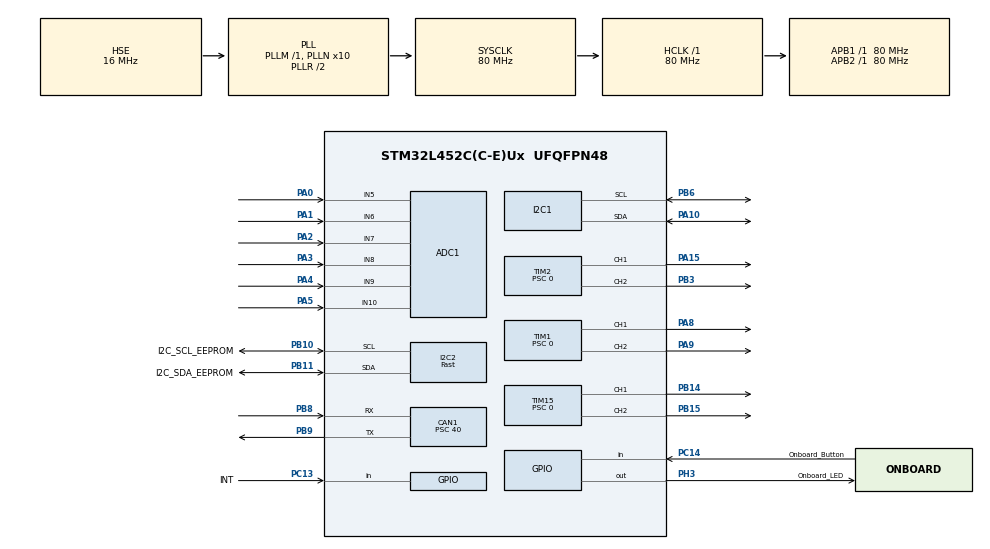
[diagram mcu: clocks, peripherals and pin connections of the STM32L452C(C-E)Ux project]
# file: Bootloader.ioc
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ADC1.Channel-0\#ChannelRegularConversion=ADC_CHANNEL_5
ADC1.NbrOfConversionFlag=1
ADC1.OffsetNumber-0\#ChannelRegularConversion=ADC_OFFSET_NONE
ADC1.Rank-0\#ChannelRegularConversion=1
ADC1.SamplingTime-0\#ChannelRegularConversion=ADC_SAMPLETIME_2CYCLES_5
ADC1.master=1
CAN1.BS1=CAN_BS1_13TQ
CAN1.BS2=CAN_BS2_2TQ
CAN1.CalculateTimeQuantum=500.0
CAN1.Prescaler=40
CAN1.RFLM=DISABLE
CAN1.TXFP=ENABLE
I2C1.Timing=0x10909CEC
I2C2.Analog_Filter=I2C_ANALOGFILTER_ENABLE
I2C2.CustomTiming=Disabled
I2C2.I2C_Speed_Mode=I2C_Fast
I2C2.Timing=0x00702991
Mcu.Family=STM32L4
Mcu.Name=STM32L452C(C-E)Ux
Mcu.Package=UFQFPN48
NVIC.CAN1_RX0_IRQn=true\:0\:0\:false\:false\:true\:true\:true
NVIC.CAN1_RX1_IRQn=true\:0\:0\:false\:false\:true\:true\:true
NVIC.CAN1_SCE_IRQn=true\:0\:0\:false\:false\:true\:true\:true
NVIC.CAN1_TX_IRQn=true\:0\:0\:false\:false\:true\:true\:true
NVIC.PriorityGroup=NVIC_PRIORITYGROUP_4
PA0.Signal=ADCx_IN5
PA1.Signal=ADCx_IN6
PA10.Mode=I2C
PA10.Signal=I2C1_SDA
PA13\ (JTMS/SWDIO).Mode=Serial_Wire
PA13\ (JTMS/SWDIO).Signal=SYS_JTMS-SWDIO
PA14\ (JTCK/SWCLK).Mode=Serial_Wire
PA14\ (JTCK/SWCLK).Signal=SYS_JTCK-SWCLK
PA15\ (JTDI).Signal=S_TIM2_CH1
PA2.Signal=ADCx_IN7
PA3.Signal=ADCx_IN8
PA4.Signal=ADCx_IN9
PA5.Signal=ADCx_IN10
PA8.Signal=S_TIM1_CH1
PA9.Signal=S_TIM1_CH2
PB10.GPIO_Label=I2C_SCL_EEPROM
PB10.Mode=I2C
PB10.Signal=I2C2_SCL
PB11.GPIO_Label=I2C_SDA_EEPROM
PB11.Mode=I2C
PB11.Signal=I2C2_SDA
PB14.Signal=S_TIM15_CH1
PB15.Signal=S_TIM15_CH2
PB3\ (JTDO/TRACESWO).Signal=S_TIM2_CH2
PB6.Mode=I2C
PB6.Signal=I2C1_SCL
PB8.Mode=Master
PB8.Signal=CAN1_RX
PB9.Mode=Master
PB9.Signal=CAN1_TX
PC13.GPIO_Label=INT
PC13.GPIO_PuPd=GPIO_PULLUP
PC13.Signal=GPIO_Input
PC14-OSC32_IN\ (PC14).GPIO_Label=Onboard_Button
PC14-OSC32_IN\ (PC14).GPIO_PuPd=GPIO_PULLUP
PC14-OSC32_IN\ (PC14).Signal=GPIO_Input
PH0-OSC_IN\ (PH0).Mode=HSE-External-Oscillator
PH0-OSC_IN\ (PH0).Signal=RCC_OSC_IN
PH1-OSC_OUT\ (PH1).Mode=HSE-External-Oscillator
PH1-OSC_OUT\ (PH1).Signal=RCC_OSC_OUT
PH3-BOOT0\ (BOOT0).GPIO_Label=Onboard_LED
PH3-BOOT0\ (BOOT0).Signal=GPIO_Output
ProjectManager.HeapSize=0x200
ProjectManager.StackSize=0x400
ProjectManager.TargetToolchain=MDK-ARM V5.27
RCC.ADCFreq_Value=64000000
RCC.AHBFreq_Value=80000000
RCC.APB1Freq_Value=80000000
RCC.APB1TimFreq_Value=80000000
RCC.APB2Freq_Value=80000000
RCC.APB2TimFreq_Value=80000000
RCC.CortexFreq_Value=80000000
RCC.HCLKFreq_Value=80000000
RCC.HSE_VALUE=16000000
RCC.HSI48_VALUE=48000000
RCC.HSI_VALUE=16000000
RCC.LSE_VALUE=32768
RCC.MSI_VALUE=4000000
RCC.PLLN=10
RCC.PLLSourceVirtual=RCC_PLLSOURCE_HSE
RCC.SYSCLKFreq_VALUE=80000000
RCC.SYSCLKSource=RCC_SYSCLKSOURCE_PLLCLK
RCC.USBFreq_Value=64000000
RCC.VCOOutputFreq_Value=160000000
SH.ADCx_IN10.0=ADC1_IN10,IN10-Single-Ended
SH.ADCx_IN5.0=ADC1_IN5,IN5-Single-Ended
SH.ADCx_IN6.0=ADC1_IN6,IN6-Single-Ended
SH.ADCx_IN7.0=ADC1_IN7,IN7-Single-Ended
SH.ADCx_IN8.0=ADC1_IN8,IN8-Single-Ended
SH.ADCx_IN9.0=ADC1_IN9,IN9-Single-Ended
SH.S_TIM15_CH1.0=TIM15_CH1,PWM Generation1 CH1
SH.S_TIM15_CH2.0=TIM15_CH2,PWM Generation2 CH2
SH.S_TIM1_CH1.0=TIM1_CH1,PWM Generation1 CH1
SH.S_TIM1_CH2.0=TIM1_CH2,PWM Generation2 CH2
SH.S_TIM2_CH1.0=TIM2_CH1,PWM Generation1 CH1
SH.S_TIM2_CH2.0=TIM2_CH2,PWM Generation2 CH2
TIM1.Channel-PWM\ Generation1\ CH1=TIM_CHANNEL_1
TIM1.Channel-PWM\ Generation2\ CH2=TIM_CHANNEL_2
TIM1.Period=65535
TIM1.Prescaler=0
TIM1.TIM_MasterOutputTrigger=TIM_TRGO_OC4REF
TIM1.TIM_MasterOutputTrigger2=TIM_TRGO2_OC5REF
TIM15.Channel-PWM\ Generation1\ CH1=TIM_CHANNEL_1
TIM15.Channel-PWM\ Generation2\ CH2=TIM_CHANNEL_2
TIM15.Period=65535
TIM15.Prescaler=0
TIM2.Channel-PWM\ Generation1\ CH1=TIM_CHANNEL_1
TIM2.Channel-PWM\ Generation2\ CH2=TIM_CHANNEL_2
TIM2.Period=65535
TIM2.Prescaler=0
TIM2.TIM_MasterOutputTrigger=TIM_TRGO_OC4REF
TIM2.TIM_MasterSlaveMode=TIM_MASTERSLAVEMODE_ENABLE
VP_TIM15_VS_ClockSourceINT.Mode=Internal
VP_TIM1_VS_ClockSourceINT.Mode=Internal
VP_TIM2_VS_ClockSourceINT.Mode=Internal
board=custom

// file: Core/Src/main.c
/* USER CODE BEGIN Header */
/**
  ******************************************************************************
  * @file           : main.c
  * @brief          : Main program body
  ******************************************************************************
  * @attention
  *
  * <h2><center>&copy; Copyright (c) 2021 STMicroelectronics.
  * All rights reserved.</center></h2>
  *
  * This software component is licensed by ST under BSD 3-Clause license,
  * the "License"; You may not use this file except in compliance with the
  * License. You may obtain a copy of the License at:
  *                        opensource.org/licenses/BSD-3-Clause
  *
  ******************************************************************************
  */
/* USER CODE END Header */
#include "main.h"

/* USER CODE BEGIN Includes */
// Добавление директорий

// Common
#include "NVRAMCommon.h"

// DeviceCommon
#include "FLASHMemoryMap.h"

// iRidiumProtocol
#include "IridiumCRC16.h"

/* USER CODE END Includes */

ADC_HandleTypeDef hadc1;

CAN_HandleTypeDef hcan1;

I2C_HandleTypeDef hi2c1;
I2C_HandleTypeDef hi2c2;

TIM_HandleTypeDef htim1;
TIM_HandleTypeDef htim2;
TIM_HandleTypeDef htim15;

void SystemClock_Config(void);
static void MX_GPIO_Init(void);
static void MX_ADC1_Init(void);
static void MX_CAN1_Init(void);
static void MX_I2C1_Init(void);
static void MX_I2C2_Init(void);
static void MX_TIM1_Init(void);
static void MX_TIM2_Init(void);
static void MX_TIM15_Init(void);

/* USER CODE BEGIN 0 */
//////////////////////////////////////////////////////////////////////////
// Связывание C и CPP кода
//////////////////////////////////////////////////////////////////////////
// Процедуры
extern nvram_common_t* iRidiumDevice_InitNVRAM(void);
extern void iRidiumDevice_Setup(void);
extern void iRidiumDevice_Loop(void);

/* USER CODE END 0 */

int main(void)
{

  /* MCU Configuration--------------------------------------------------------*/

  /* Reset of all peripherals, Initializes the Flash interface and the Systick. */
  HAL_Init();

  /* Configure the system clock */
  SystemClock_Config();

  /* Initialize all configured peripherals */
  MX_GPIO_Init();
  MX_ADC1_Init();
  MX_CAN1_Init();
  MX_I2C1_Init();
  MX_I2C2_Init();
  MX_TIM1_Init();
  MX_TIM2_Init();
  MX_TIM15_Init();
  /* USER CODE BEGIN 2 */
   // Получение сказателя на данные энергонезависимой памяти
   nvram_common_t* l_pNVRAM = iRidiumDevice_InitNVRAM();
   if(l_pNVRAM)
   {
      // Получение режима работы, размера текущей прошивки и ее контрольная сумма
      eBootloaderMode l_eMode = (eBootloaderMode)l_pNVRAM->m_u8Mode;
      u32 l_u32Size = l_pNVRAM->m_u32FirmwareSize;
      u16 l_u16CRC = l_pNVRAM->m_u16FirmwareCRC16;

      // Проверка нажатия набортной кнопки
      if(GPIO_PIN_SET == HAL_GPIO_ReadPin(Onboard_Button_GPIO_Port, Onboard_Button_Pin))
      {
         // Если нужна загрузка или сброс прошивки
         if(l_eMode == BOOTLOADER_MODE_RUN)
         {
            // Проверка размера и контрольной суммы прошивки
            if(l_u32Size && l_u32Size <= FIRMWARE_SIZE && GetCRC16Modbus(0x77, (u8*)FIRMWARE_START, l_u32Size) == l_u16CRC)
            {
               // Деинициализация
               HAL_DeInit();

               // Прототип функции
               typedef void (*function_t)();

               // Запрет прерывания
               __disable_irq();

               // �?зменение вектора прерываний
               SCB->VTOR = FIRMWARE_START;

               // Вычисление указателя на прошивку
               u32 l_u32JumpAddress = *(__IO uint32_t*)(FIRMWARE_START + 4);
               function_t l_pJumpPtr = (function_t)l_u32JumpAddress;

               // �?зменение указателя стека
               __set_MSP(*(__IO uint32_t*)FIRMWARE_START);

               // Переход в прошивку
               l_pJumpPtr();
            }
         }
      }
   }

   // Инициализация данных
   iRidiumDevice_Setup();

  /* USER CODE END 2 */

  /* Infinite loop */
  while (1)
  {
   iRidiumDevice_Loop();

  }
}

void SystemClock_Config(void)
{
  RCC_OscInitTypeDef RCC_OscInitStruct = {0};
  RCC_ClkInitTypeDef RCC_ClkInitStruct = {0};
  RCC_PeriphCLKInitTypeDef PeriphClkInit = {0};

  /** Initializes the RCC Oscillators according to the specified parameters
  * in the RCC_OscInitTypeDef structure.
  */
  RCC_OscInitStruct.OscillatorType = RCC_OSCILLATORTYPE_HSE;
  RCC_OscInitStruct.HSEState = RCC_HSE_ON;
  RCC_OscInitStruct.PLL.PLLState = RCC_PLL_ON;
  RCC_OscInitStruct.PLL.PLLSource = RCC_PLLSOURCE_HSE;
  RCC_OscInitStruct.PLL.PLLM = 1;
  RCC_OscInitStruct.PLL.PLLN = 10;
  RCC_OscInitStruct.PLL.PLLP = RCC_PLLP_DIV7;
  RCC_OscInitStruct.PLL.PLLQ = RCC_PLLQ_DIV2;
  RCC_OscInitStruct.PLL.PLLR = RCC_PLLR_DIV2;
  if (HAL_RCC_OscConfig(&RCC_OscInitStruct) != HAL_OK)
  {
    Error_Handler();
  }
  /** Initializes the CPU, AHB and APB buses clocks
  */
  RCC_ClkInitStruct.ClockType = RCC_CLOCKTYPE_HCLK|RCC_CLOCKTYPE_SYSCLK
                              |RCC_CLOCKTYPE_PCLK1|RCC_CLOCKTYPE_PCLK2;
  RCC_ClkInitStruct.SYSCLKSource = RCC_SYSCLKSOURCE_PLLCLK;
  RCC_ClkInitStruct.AHBCLKDivider = RCC_SYSCLK_DIV1;
  RCC_ClkInitStruct.APB1CLKDivider = RCC_HCLK_DIV1;
  RCC_ClkInitStruct.APB2CLKDivider = RCC_HCLK_DIV1;

  if (HAL_RCC_ClockConfig(&RCC_ClkInitStruct, FLASH_LATENCY_4) != HAL_OK)
  {
    Error_Handler();
  }
  PeriphClkInit.PeriphClockSelection = RCC_PERIPHCLK_I2C1|RCC_PERIPHCLK_I2C2
                              |RCC_PERIPHCLK_ADC;
  PeriphClkInit.I2c1ClockSelection = RCC_I2C1CLKSOURCE_PCLK1;
  PeriphClkInit.I2c2ClockSelection = RCC_I2C2CLKSOURCE_PCLK1;
  PeriphClkInit.AdcClockSelection = RCC_ADCCLKSOURCE_PLLSAI1;
  PeriphClkInit.PLLSAI1.PLLSAI1Source = RCC_PLLSOURCE_HSE;
  PeriphClkInit.PLLSAI1.PLLSAI1M = 1;
  PeriphClkInit.PLLSAI1.PLLSAI1N = 8;
  PeriphClkInit.PLLSAI1.PLLSAI1P = RCC_PLLP_DIV7;
  PeriphClkInit.PLLSAI1.PLLSAI1Q = RCC_PLLQ_DIV2;
  PeriphClkInit.PLLSAI1.PLLSAI1R = RCC_PLLR_DIV2;
  PeriphClkInit.PLLSAI1.PLLSAI1ClockOut = RCC_PLLSAI1_ADC1CLK;
  if (HAL_RCCEx_PeriphCLKConfig(&PeriphClkInit) != HAL_OK)
  {
    Error_Handler();
  }
  /** Configure the main internal regulator output voltage
  */
  if (HAL_PWREx_ControlVoltageScaling(PWR_REGULATOR_VOLTAGE_SCALE1) != HAL_OK)
  {
    Error_Handler();
  }
}

static void MX_ADC1_Init(void)
{

  ADC_ChannelConfTypeDef sConfig = {0};

  /** Common config
  */
  hadc1.Instance = ADC1;
  hadc1.Init.ClockPrescaler = ADC_CLOCK_ASYNC_DIV1;
  hadc1.Init.Resolution = ADC_RESOLUTION_12B;
  hadc1.Init.DataAlign = ADC_DATAALIGN_RIGHT;
  hadc1.Init.ScanConvMode = ADC_SCAN_DISABLE;
  hadc1.Init.EOCSelection = ADC_EOC_SINGLE_CONV;
  hadc1.Init.LowPowerAutoWait = DISABLE;
  hadc1.Init.ContinuousConvMode = DISABLE;
  hadc1.Init.NbrOfConversion = 1;
  hadc1.Init.DiscontinuousConvMode = DISABLE;
  hadc1.Init.ExternalTrigConv = ADC_SOFTWARE_START;
  hadc1.Init.ExternalTrigConvEdge = ADC_EXTERNALTRIGCONVEDGE_NONE;
  hadc1.Init.DMAContinuousRequests = DISABLE;
  hadc1.Init.Overrun = ADC_OVR_DATA_PRESERVED;
  hadc1.Init.OversamplingMode = DISABLE;
  if (HAL_ADC_Init(&hadc1) != HAL_OK)
  {
    Error_Handler();
  }
  /** Configure Regular Channel
  */
  sConfig.Channel = ADC_CHANNEL_5;
  sConfig.Rank = ADC_REGULAR_RANK_1;
  sConfig.SamplingTime = ADC_SAMPLETIME_2CYCLES_5;
  sConfig.SingleDiff = ADC_SINGLE_ENDED;
  sConfig.OffsetNumber = ADC_OFFSET_NONE;
  sConfig.Offset = 0;
  if (HAL_ADC_ConfigChannel(&hadc1, &sConfig) != HAL_OK)
  {
    Error_Handler();
  }

}

static void MX_CAN1_Init(void)
{

  hcan1.Instance = CAN1;
  hcan1.Init.Prescaler = 40;
  hcan1.Init.Mode = CAN_MODE_NORMAL;
  hcan1.Init.SyncJumpWidth = CAN_SJW_1TQ;
  hcan1.Init.TimeSeg1 = CAN_BS1_13TQ;
  hcan1.Init.TimeSeg2 = CAN_BS2_2TQ;
  hcan1.Init.TimeTriggeredMode = DISABLE;
  hcan1.Init.AutoBusOff = ENABLE;
  hcan1.Init.AutoWakeUp = DISABLE;
  hcan1.Init.AutoRetransmission = ENABLE;
  hcan1.Init.ReceiveFifoLocked = ENABLE;
  hcan1.Init.TransmitFifoPriority = ENABLE;
  if (HAL_CAN_Init(&hcan1) != HAL_OK)
  {
    Error_Handler();
  }

}

static void MX_I2C1_Init(void)
{

  hi2c1.Instance = I2C1;
  hi2c1.Init.Timing = 0x10909CEC;
  hi2c1.Init.OwnAddress1 = 0;
  hi2c1.Init.AddressingMode = I2C_ADDRESSINGMODE_7BIT;
  hi2c1.Init.DualAddressMode = I2C_DUALADDRESS_DISABLE;
  hi2c1.Init.OwnAddress2 = 0;
  hi2c1.Init.OwnAddress2Masks = I2C_OA2_NOMASK;
  hi2c1.Init.GeneralCallMode = I2C_GENERALCALL_DISABLE;
  hi2c1.Init.NoStretchMode = I2C_NOSTRETCH_DISABLE;
  if (HAL_I2C_Init(&hi2c1) != HAL_OK)
  {
    Error_Handler();
  }
  /** Configure Analogue filter
  */
  if (HAL_I2CEx_ConfigAnalogFilter(&hi2c1, I2C_ANALOGFILTER_ENABLE) != HAL_OK)
  {
    Error_Handler();
  }
  /** Configure Digital filter
  */
  if (HAL_I2CEx_ConfigDigitalFilter(&hi2c1, 0) != HAL_OK)
  {
    Error_Handler();
  }

}

static void MX_I2C2_Init(void)
{

  hi2c2.Instance = I2C2;
  hi2c2.Init.Timing = 0x00702991;
  hi2c2.Init.OwnAddress1 = 0;
  hi2c2.Init.AddressingMode = I2C_ADDRESSINGMODE_7BIT;
  hi2c2.Init.DualAddressMode = I2C_DUALADDRESS_DISABLE;
  hi2c2.Init.OwnAddress2 = 0;
  hi2c2.Init.OwnAddress2Masks = I2C_OA2_NOMASK;
  hi2c2.Init.GeneralCallMode = I2C_GENERALCALL_DISABLE;
  hi2c2.Init.NoStretchMode = I2C_NOSTRETCH_DISABLE;
  if (HAL_I2C_Init(&hi2c2) != HAL_OK)
  {
    Error_Handler();
  }
  /** Configure Analogue filter
  */
  if (HAL_I2CEx_ConfigAnalogFilter(&hi2c2, I2C_ANALOGFILTER_ENABLE) != HAL_OK)
  {
    Error_Handler();
  }
  /** Configure Digital filter
  */
  if (HAL_I2CEx_ConfigDigitalFilter(&hi2c2, 0) != HAL_OK)
  {
    Error_Handler();
  }

}

static void MX_TIM1_Init(void)
{

  TIM_ClockConfigTypeDef sClockSourceConfig = {0};
  TIM_MasterConfigTypeDef sMasterConfig = {0};
  TIM_OC_InitTypeDef sConfigOC = {0};
  TIM_BreakDeadTimeConfigTypeDef sBreakDeadTimeConfig = {0};

  htim1.Instance = TIM1;
  htim1.Init.Prescaler = 0;
  htim1.Init.CounterMode = TIM_COUNTERMODE_UP;
  htim1.Init.Period = 65535;
  htim1.Init.ClockDivision = TIM_CLOCKDIVISION_DIV1;
  htim1.Init.RepetitionCounter = 0;
  htim1.Init.AutoReloadPreload = TIM_AUTORELOAD_PRELOAD_DISABLE;
  if (HAL_TIM_Base_Init(&htim1) != HAL_OK)
  {
    Error_Handler();
  }
  sClockSourceConfig.ClockSource = TIM_CLOCKSOURCE_INTERNAL;
  if (HAL_TIM_ConfigClockSource(&htim1, &sClockSourceConfig) != HAL_OK)
  {
    Error_Handler();
  }
  if (HAL_TIM_PWM_Init(&htim1) != HAL_OK)
  {
    Error_Handler();
  }
  sMasterConfig.MasterOutputTrigger = TIM_TRGO_OC4REF;
  sMasterConfig.MasterOutputTrigger2 = TIM_TRGO2_OC5REF;
  sMasterConfig.MasterSlaveMode = TIM_MASTERSLAVEMODE_DISABLE;
  if (HAL_TIMEx_MasterConfigSynchronization(&htim1, &sMasterConfig) != HAL_OK)
  {
    Error_Handler();
  }
  sConfigOC.OCMode = TIM_OCMODE_PWM1;
  sConfigOC.Pulse = 0;
  sConfigOC.OCPolarity = TIM_OCPOLARITY_HIGH;
  sConfigOC.OCNPolarity = TIM_OCNPOLARITY_HIGH;
  sConfigOC.OCFastMode = TIM_OCFAST_DISABLE;
  sConfigOC.OCIdleState = TIM_OCIDLESTATE_RESET;
  sConfigOC.OCNIdleState = TIM_OCNIDLESTATE_RESET;
  if (HAL_TIM_PWM_ConfigChannel(&htim1, &sConfigOC, TIM_CHANNEL_1) != HAL_OK)
  {
    Error_Handler();
  }
  if (HAL_TIM_PWM_ConfigChannel(&htim1, &sConfigOC, TIM_CHANNEL_2) != HAL_OK)
  {
    Error_Handler();
  }
  sBreakDeadTimeConfig.OffStateRunMode = TIM_OSSR_DISABLE;
  sBreakDeadTimeConfig.OffStateIDLEMode = TIM_OSSI_DISABLE;
  sBreakDeadTimeConfig.LockLevel = TIM_LOCKLEVEL_OFF;
  sBreakDeadTimeConfig.DeadTime = 0;
  sBreakDeadTimeConfig.BreakState = TIM_BREAK_DISABLE;
  sBreakDeadTimeConfig.BreakPolarity = TIM_BREAKPOLARITY_HIGH;
  sBreakDeadTimeConfig.BreakFilter = 0;
  sBreakDeadTimeConfig.Break2State = TIM_BREAK2_DISABLE;
  sBreakDeadTimeConfig.Break2Polarity = TIM_BREAK2POLARITY_HIGH;
  sBreakDeadTimeConfig.Break2Filter = 0;
  sBreakDeadTimeConfig.AutomaticOutput = TIM_AUTOMATICOUTPUT_DISABLE;
  if (HAL_TIMEx_ConfigBreakDeadTime(&htim1, &sBreakDeadTimeConfig) != HAL_OK)
  {
    Error_Handler();
  }
  HAL_TIM_MspPostInit(&htim1);

}

static void MX_TIM2_Init(void)
{

  TIM_ClockConfigTypeDef sClockSourceConfig = {0};
  TIM_MasterConfigTypeDef sMasterConfig = {0};
  TIM_OC_InitTypeDef sConfigOC = {0};

  htim2.Instance = TIM2;
  htim2.Init.Prescaler = 0;
  htim2.Init.CounterMode = TIM_COUNTERMODE_UP;
  htim2.Init.Period = 65535;
  htim2.Init.ClockDivision = TIM_CLOCKDIVISION_DIV1;
  htim2.Init.AutoReloadPreload = TIM_AUTORELOAD_PRELOAD_DISABLE;
  if (HAL_TIM_Base_Init(&htim2) != HAL_OK)
  {
    Error_Handler();
  }
  sClockSourceConfig.ClockSource = TIM_CLOCKSOURCE_INTERNAL;
  if (HAL_TIM_ConfigClockSource(&htim2, &sClockSourceConfig) != HAL_OK)
  {
    Error_Handler();
  }
  if (HAL_TIM_PWM_Init(&htim2) != HAL_OK)
  {
    Error_Handler();
  }
  sMasterConfig.MasterOutputTrigger = TIM_TRGO_OC4REF;
  sMasterConfig.MasterSlaveMode = TIM_MASTERSLAVEMODE_ENABLE;
  if (HAL_TIMEx_MasterConfigSynchronization(&htim2, &sMasterConfig) != HAL_OK)
  {
    Error_Handler();
  }
  sConfigOC.OCMode = TIM_OCMODE_PWM1;
  sConfigOC.Pulse = 0;
  sConfigOC.OCPolarity = TIM_OCPOLARITY_HIGH;
  sConfigOC.OCFastMode = TIM_OCFAST_DISABLE;
  if (HAL_TIM_PWM_ConfigChannel(&htim2, &sConfigOC, TIM_CHANNEL_1) != HAL_OK)
  {
    Error_Handler();
  }
  if (HAL_TIM_PWM_ConfigChannel(&htim2, &sConfigOC, TIM_CHANNEL_2) != HAL_OK)
  {
    Error_Handler();
  }
  HAL_TIM_MspPostInit(&htim2);

}

static void MX_TIM15_Init(void)
{

  TIM_ClockConfigTypeDef sClockSourceConfig = {0};
  TIM_MasterConfigTypeDef sMasterConfig = {0};
  TIM_OC_InitTypeDef sConfigOC = {0};
  TIM_BreakDeadTimeConfigTypeDef sBreakDeadTimeConfig = {0};

  htim15.Instance = TIM15;
  htim15.Init.Prescaler = 0;
  htim15.Init.CounterMode = TIM_COUNTERMODE_UP;
  htim15.Init.Period = 65535;
  htim15.Init.ClockDivision = TIM_CLOCKDIVISION_DIV1;
  htim15.Init.RepetitionCounter = 0;
  htim15.Init.AutoReloadPreload = TIM_AUTORELOAD_PRELOAD_DISABLE;
  if (HAL_TIM_Base_Init(&htim15) != HAL_OK)
  {
    Error_Handler();
  }
  sClockSourceConfig.ClockSource = TIM_CLOCKSOURCE_INTERNAL;
  if (HAL_TIM_ConfigClockSource(&htim15, &sClockSourceConfig) != HAL_OK)
  {
    Error_Handler();
  }
  if (HAL_TIM_PWM_Init(&htim15) != HAL_OK)
  {
    Error_Handler();
  }
  sMasterConfig.MasterOutputTrigger = TIM_TRGO_RESET;
  sMasterConfig.MasterSlaveMode = TIM_MASTERSLAVEMODE_DISABLE;
  if (HAL_TIMEx_MasterConfigSynchronization(&htim15, &sMasterConfig) != HAL_OK)
  {
    Error_Handler();
  }
  sConfigOC.OCMode = TIM_OCMODE_PWM1;
  sConfigOC.Pulse = 0;
  sConfigOC.OCPolarity = TIM_OCPOLARITY_HIGH;
  sConfigOC.OCNPolarity = TIM_OCNPOLARITY_HIGH;
  sConfigOC.OCFastMode = TIM_OCFAST_DISABLE;
  sConfigOC.OCIdleState = TIM_OCIDLESTATE_RESET;
  sConfigOC.OCNIdleState = TIM_OCNIDLESTATE_RESET;
  if (HAL_TIM_PWM_ConfigChannel(&htim15, &sConfigOC, TIM_CHANNEL_1) != HAL_OK)
  {
    Error_Handler();
  }
  if (HAL_TIM_PWM_ConfigChannel(&htim15, &sConfigOC, TIM_CHANNEL_2) != HAL_OK)
  {
    Error_Handler();
  }
  sBreakDeadTimeConfig.OffStateRunMode = TIM_OSSR_DISABLE;
  sBreakDeadTimeConfig.OffStateIDLEMode = TIM_OSSI_DISABLE;
  sBreakDeadTimeConfig.LockLevel = TIM_LOCKLEVEL_OFF;
  sBreakDeadTimeConfig.DeadTime = 0;
  sBreakDeadTimeConfig.BreakState = TIM_BREAK_DISABLE;
  sBreakDeadTimeConfig.BreakPolarity = TIM_BREAKPOLARITY_HIGH;
  sBreakDeadTimeConfig.AutomaticOutput = TIM_AUTOMATICOUTPUT_DISABLE;
  if (HAL_TIMEx_ConfigBreakDeadTime(&htim15, &sBreakDeadTimeConfig) != HAL_OK)
  {
    Error_Handler();
  }
  HAL_TIM_MspPostInit(&htim15);

}

static void MX_GPIO_Init(void)
{
  GPIO_InitTypeDef GPIO_InitStruct = {0};

  /* GPIO Ports Clock Enable */
  __HAL_RCC_GPIOC_CLK_ENABLE();
  __HAL_RCC_GPIOH_CLK_ENABLE();
  __HAL_RCC_GPIOA_CLK_ENABLE();
  __HAL_RCC_GPIOB_CLK_ENABLE();

  /*Configure GPIO pin Output Level */
  HAL_GPIO_WritePin(Onboard_LED_GPIO_Port, Onboard_LED_Pin, GPIO_PIN_RESET);

  /*Configure GPIO pins : INT_Pin Onboard_Button_Pin */
  GPIO_InitStruct.Pin = INT_Pin|Onboard_Button_Pin;
  GPIO_InitStruct.Mode = GPIO_MODE_INPUT;
  GPIO_InitStruct.Pull = GPIO_PULLUP;
  HAL_GPIO_Init(GPIOC, &GPIO_InitStruct);

  /*Configure GPIO pin : Onboard_LED_Pin */
  GPIO_InitStruct.Pin = Onboard_LED_Pin;
  GPIO_InitStruct.Mode = GPIO_MODE_OUTPUT_PP;
  GPIO_InitStruct.Pull = GPIO_NOPULL;
  GPIO_InitStruct.Speed = GPIO_SPEED_FREQ_LOW;
  HAL_GPIO_Init(Onboard_LED_GPIO_Port, &GPIO_InitStruct);

}

void Error_Handler(void)
{
}

/************************ (C) COPYRIGHT STMicroelectronics *****END OF FILE****/
